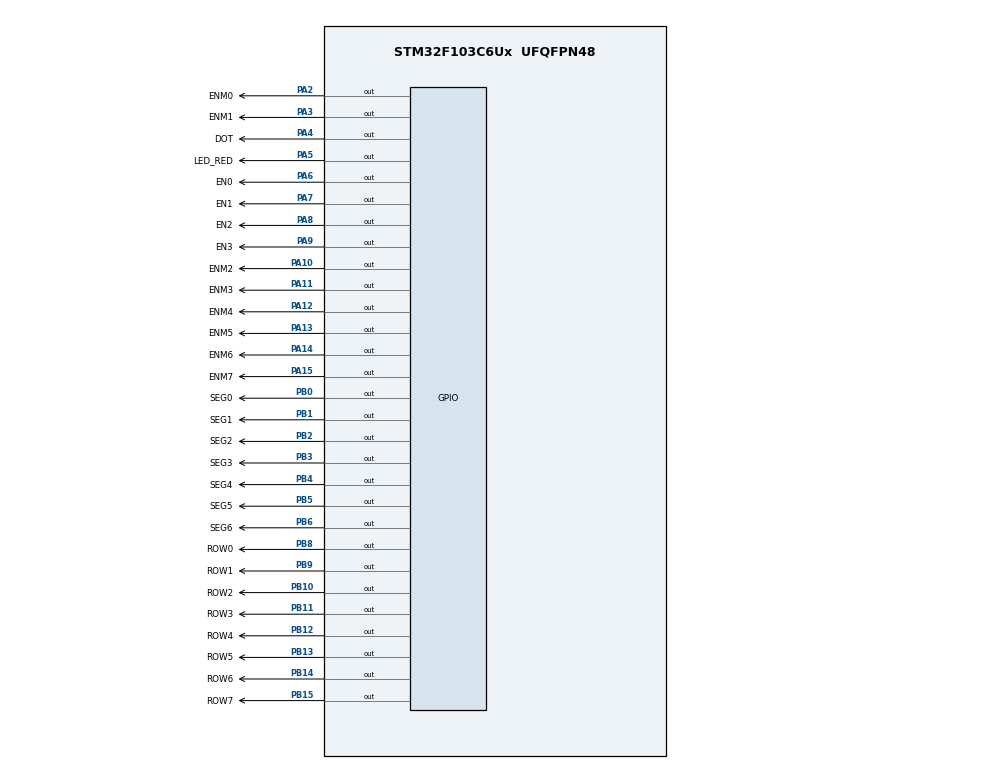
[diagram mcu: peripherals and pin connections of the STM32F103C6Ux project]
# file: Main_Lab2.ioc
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Mcu.Family=STM32F1
Mcu.Name=STM32F103C6Ux
Mcu.Package=UFQFPN48
NVIC.PriorityGroup=NVIC_PRIORITYGROUP_4
NVIC.TIM2_IRQn=true\:0\:0\:false\:false\:true\:true\:true
PA10.GPIO_Label=ENM2
PA10.Signal=GPIO_Output
PA11.GPIO_Label=ENM3
PA11.Signal=GPIO_Output
PA12.GPIO_Label=ENM4
PA12.Signal=GPIO_Output
PA13.GPIO_Label=ENM5
PA13.Signal=GPIO_Output
PA14.GPIO_Label=ENM6
PA14.Signal=GPIO_Output
PA15.GPIO_Label=ENM7
PA15.Signal=GPIO_Output
PA2.GPIO_Label=ENM0
PA2.Signal=GPIO_Output
PA3.GPIO_Label=ENM1
PA3.Signal=GPIO_Output
PA4.GPIO_Label=DOT
PA4.Signal=GPIO_Output
PA5.GPIO_Label=LED_RED
PA5.Signal=GPIO_Output
PA6.GPIO_Label=EN0
PA6.Signal=GPIO_Output
PA7.GPIO_Label=EN1
PA7.Signal=GPIO_Output
PA8.GPIO_Label=EN2
PA8.Signal=GPIO_Output
PA9.GPIO_Label=EN3
PA9.Signal=GPIO_Output
PB0.GPIO_Label=SEG0
PB0.Signal=GPIO_Output
PB1.GPIO_Label=SEG1
PB1.Signal=GPIO_Output
PB10.GPIO_Label=ROW2
PB10.Signal=GPIO_Output
PB11.GPIO_Label=ROW3
PB11.Signal=GPIO_Output
PB12.GPIO_Label=ROW4
PB12.Signal=GPIO_Output
PB13.GPIO_Label=ROW5
PB13.Signal=GPIO_Output
PB14.GPIO_Label=ROW6
PB14.Signal=GPIO_Output
PB15.GPIO_Label=ROW7
PB15.Signal=GPIO_Output
PB2.GPIO_Label=SEG2
PB2.Signal=GPIO_Output
PB3.GPIO_Label=SEG3
PB3.Signal=GPIO_Output
PB4.GPIO_Label=SEG4
PB4.Signal=GPIO_Output
PB5.GPIO_Label=SEG5
PB5.Signal=GPIO_Output
PB6.GPIO_Label=SEG6
PB6.Signal=GPIO_Output
PB8.GPIO_Label=ROW0
PB8.Signal=GPIO_Output
PB9.GPIO_Label=ROW1
PB9.Signal=GPIO_Output
ProjectManager.HeapSize=0x200
ProjectManager.StackSize=0x400
ProjectManager.TargetToolchain=STM32CubeIDE
RCC.APB1Freq_Value=8000000
RCC.APB2Freq_Value=8000000
TIM2.Period=9
TIM2.Prescaler=7999
VP_SYS_VS_ND.Mode=No_Debug
VP_TIM2_VS_ClockSourceINT.Mode=Internal
board=custom

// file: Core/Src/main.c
/* USER CODE BEGIN Header */
/**
  ******************************************************************************
  * @file           : main.c
  * @brief          : Main program body
  ******************************************************************************
  * @attention
  *
  * <h2><center>&copy; Copyright (c) 2024 STMicroelectronics.
  * All rights reserved.</center></h2>
  *
  * This software component is licensed by ST under BSD 3-Clause license,
  * the "License"; You may not use this file except in compliance with the
  * License. You may obtain a copy of the License at:
  *                        opensource.org/licenses/BSD-3-Clause
  *
  ******************************************************************************
  */
/* USER CODE END Header */
#include "main.h"

/* USER CODE BEGIN Includes */
#include "timer.h"
/* USER CODE END Includes */

TIM_HandleTypeDef htim2;

void SystemClock_Config(void);
static void MX_GPIO_Init(void);
static void MX_TIM2_Init(void);

/* USER CODE BEGIN 0 */
const int MAX_LED = 4;
int index_led = 0;
int controllPin[4] = {EN0_Pin, EN1_Pin, EN2_Pin, EN3_Pin};
int buffer[4] = {1, 2, 3, 4};
int hour = 15, minute = 59, second = 50;
void display7SEG(int num) {
	char segNum[10] = {0xC0, 0xF9, 0xA4, 0xB0, 0x99, 0x92, 0x82, 0xF8, 0x80, 0x90};
	for (int i = 0; i < 7; ++i) {
		HAL_GPIO_WritePin(GPIOB, GPIO_PIN_0 << i, (segNum[num] >> i) & 1);
	}
}
void clear() {
	HAL_GPIO_WritePin(GPIOA, EN0_Pin | EN1_Pin | EN2_Pin | EN3_Pin, SET);
}
void EnableLed() {
	HAL_GPIO_WritePin(EN0_GPIO_Port, EN0_Pin, 1);
	HAL_GPIO_WritePin(EN1_GPIO_Port, EN1_Pin, 1);
	HAL_GPIO_WritePin(EN2_GPIO_Port, EN2_Pin, 1);
	HAL_GPIO_WritePin(EN3_GPIO_Port, EN3_Pin, 1);
}
//void clearPin(int pin) {
//	HAL_GPIO_WritePin(GPIOA, controllPin[pin], RESET);
//}
void enable(int pin) {
	HAL_GPIO_WritePin(GPIOA, controllPin[pin], RESET);
}

void update7SEG(int index) {
	clear();
	EnableLed();
	switch (index) {
		case 0: {
			display7SEG(buffer[0]);
			enable(0);
			break;
		}
		case 1: {
			display7SEG(buffer[1]);
			enable(1);
			break;
		}
		case 2: {
			display7SEG(buffer[2]);
			enable(2);
			break;
		}
		case 3: {
			display7SEG(buffer[3]);
			enable(3);
			break;
		}
		default:
			break;
	}
}
void updateClockBuffer() {
	buffer[0] = hour / 10;
	buffer[1] = hour % 10;
	buffer[2] = minute / 10;
	buffer[3] = minute % 10;
}

//const int MAX_LED_MATRIX = 8;
//int index_led_matrix = 0;
//uint8_t matrix_buffer[8] = {0xE7,0xDB,0xBD,0x7E,0x00,0x00,0xFE,0xFE};
const int MAX_LED_MATRIX = 8;
int index_led_matrix = 0;
uint8_t shift = 0;
uint8_t matrix_buffer[8] = {  0b11100111,
							  0b11011011,
							  0b11011011,
							  0b10111101,
							  0b10111101,
							  0b10000001,
							  0b10111101,
							  0b10111101};

void setCol(uint8_t val){
	HAL_GPIO_WritePin(ENM0_GPIO_Port, ENM0_Pin, (val >> 7)&0x01);
	HAL_GPIO_WritePin(ENM1_GPIO_Port, ENM1_Pin, (val >> 6)&0x01);
	HAL_GPIO_WritePin(ENM2_GPIO_Port, ENM2_Pin, (val >> 5)&0x01);
	HAL_GPIO_WritePin(ENM3_GPIO_Port, ENM3_Pin, (val >> 4)&0x01);
	HAL_GPIO_WritePin(ENM4_GPIO_Port, ENM4_Pin, (val >> 3)&0x01);
	HAL_GPIO_WritePin(ENM5_GPIO_Port, ENM5_Pin, (val >> 2)&0x01);
	HAL_GPIO_WritePin(ENM6_GPIO_Port, ENM6_Pin, (val >> 1)&0x01);
	HAL_GPIO_WritePin(ENM7_GPIO_Port, ENM7_Pin, (val >> 0)&0x01);
}

void setRow() {
	HAL_GPIO_WritePin(ROW0_GPIO_Port, ROW0_Pin, SET);
	HAL_GPIO_WritePin(ROW1_GPIO_Port, ROW1_Pin, SET);
	HAL_GPIO_WritePin(ROW2_GPIO_Port, ROW2_Pin, SET);
	HAL_GPIO_WritePin(ROW3_GPIO_Port, ROW3_Pin, SET);
	HAL_GPIO_WritePin(ROW4_GPIO_Port, ROW4_Pin, SET);
	HAL_GPIO_WritePin(ROW5_GPIO_Port, ROW5_Pin, SET);
	HAL_GPIO_WritePin(ROW6_GPIO_Port, ROW6_Pin, SET);
	HAL_GPIO_WritePin(ROW7_GPIO_Port, ROW7_Pin, SET);
}
void updateLEDMatrix(uint8_t index, uint8_t shift){
	setRow();
	uint8_t matrix_buffer_shift = (matrix_buffer[index] << shift | matrix_buffer[index] >> (8 - shift));
	//setCol(matrix_buffer_shift);
	switch (index){
	case 0:
		setCol(matrix_buffer_shift);
		HAL_GPIO_WritePin(ROW0_GPIO_Port, ROW0_Pin, RESET);
		break;
	case 1:
		setCol(matrix_buffer_shift);
		HAL_GPIO_WritePin(ROW1_GPIO_Port, ROW1_Pin, RESET);
		break;
	case 2:
		setCol(matrix_buffer_shift);
		HAL_GPIO_WritePin(ROW2_GPIO_Port, ROW2_Pin, RESET);
		break;
	case 3:
		setCol(matrix_buffer_shift);
		HAL_GPIO_WritePin(ROW3_GPIO_Port, ROW3_Pin, RESET);
		break;
	case 4:
		setCol(matrix_buffer_shift);
		HAL_GPIO_WritePin(ROW4_GPIO_Port, ROW4_Pin, RESET);
		break;
	case 5:
		setCol(matrix_buffer_shift);
		HAL_GPIO_WritePin(ROW5_GPIO_Port, ROW5_Pin, RESET);
		break;
	case 6:
		setCol(matrix_buffer_shift);
		HAL_GPIO_WritePin(ROW6_GPIO_Port, ROW6_Pin, RESET);
		break;
	case 7:
		setCol(matrix_buffer_shift);
		HAL_GPIO_WritePin(ROW7_GPIO_Port, ROW7_Pin, RESET);
		break;
	default:
		break;
	}
}
/* USER CODE END 0 */

int main(void)
{

  /* MCU Configuration--------------------------------------------------------*/

  /* Reset of all peripherals, Initializes the Flash interface and the Systick. */
  HAL_Init();

  /* Configure the system clock */
  SystemClock_Config();

  /* Initialize all configured peripherals */
  MX_GPIO_Init();
  MX_TIM2_Init();
  /* USER CODE BEGIN 2 */
  HAL_TIM_Base_Start_IT(&htim2);
  /* USER CODE END 2 */

  /* Infinite loop */
  /* USER CODE BEGIN WHILE */
  setTimer1(1000);
  setTimer2(250);
  setTimer3(1000);
  while (1)
  {
	  if(timer1_flag == 1) {
		  HAL_GPIO_TogglePin(LED_RED_GPIO_Port, LED_RED_Pin);
		  HAL_GPIO_TogglePin(DOT_GPIO_Port, DOT_Pin);
		  setTimer1(1000);
	  }
	  if(timer2_flag == 1) {
		  update7SEG(index_led);
		  index_led++;
		  if(index_led >= 4) index_led = 0;

	  	  updateLEDMatrix(index_led_matrix, shift);
	  	  index_led_matrix++;
	  	  if(index_led_matrix >= 8) {
	  		  index_led_matrix = 0;
	  		  shift++;
	  		  if(shift >= 8) shift = 0;
	  	  }
	  	  setTimer2(250);
	  }
	  if(timer3_flag == 1) {
		  second++;
		  if(second >= 60) {
			  second = 0;
			  minute++;
		  }
		  if(minute >= 60) {
			  minute = 0;
			  hour++;
		  }
		  if(hour >= 24) {
			  hour = 0;
		  }
		  updateClockBuffer();
		  setTimer3(1000);
	  }
    /* USER CODE END WHILE */

  }
}
void SystemClock_Config(void)
{
  RCC_OscInitTypeDef RCC_OscInitStruct = {0};
  RCC_ClkInitTypeDef RCC_ClkInitStruct = {0};

  /** Initializes the RCC Oscillators according to the specified parameters
  * in the RCC_OscInitTypeDef structure.
  */
  RCC_OscInitStruct.OscillatorType = RCC_OSCILLATORTYPE_HSI;
  RCC_OscInitStruct.HSIState = RCC_HSI_ON;
  RCC_OscInitStruct.HSICalibrationValue = RCC_HSICALIBRATION_DEFAULT;
  RCC_OscInitStruct.PLL.PLLState = RCC_PLL_NONE;
  if (HAL_RCC_OscConfig(&RCC_OscInitStruct) != HAL_OK)
  {
    Error_Handler();
  }
  /** Initializes the CPU, AHB and APB buses clocks
  */
  RCC_ClkInitStruct.ClockType = RCC_CLOCKTYPE_HCLK|RCC_CLOCKTYPE_SYSCLK
                              |RCC_CLOCKTYPE_PCLK1|RCC_CLOCKTYPE_PCLK2;
  RCC_ClkInitStruct.SYSCLKSource = RCC_SYSCLKSOURCE_HSI;
  RCC_ClkInitStruct.AHBCLKDivider = RCC_SYSCLK_DIV1;
  RCC_ClkInitStruct.APB1CLKDivider = RCC_HCLK_DIV1;
  RCC_ClkInitStruct.APB2CLKDivider = RCC_HCLK_DIV1;

  if (HAL_RCC_ClockConfig(&RCC_ClkInitStruct, FLASH_LATENCY_0) != HAL_OK)
  {
    Error_Handler();
  }
}

static void MX_TIM2_Init(void)
{

  TIM_ClockConfigTypeDef sClockSourceConfig = {0};
  TIM_MasterConfigTypeDef sMasterConfig = {0};

  htim2.Instance = TIM2;
  htim2.Init.Prescaler = 7999;
  htim2.Init.CounterMode = TIM_COUNTERMODE_UP;
  htim2.Init.Period = 9;
  htim2.Init.ClockDivision = TIM_CLOCKDIVISION_DIV1;
  htim2.Init.AutoReloadPreload = TIM_AUTORELOAD_PRELOAD_DISABLE;
  if (HAL_TIM_Base_Init(&htim2) != HAL_OK)
  {
    Error_Handler();
  }
  sClockSourceConfig.ClockSource = TIM_CLOCKSOURCE_INTERNAL;
  if (HAL_TIM_ConfigClockSource(&htim2, &sClockSourceConfig) != HAL_OK)
  {
    Error_Handler();
  }
  sMasterConfig.MasterOutputTrigger = TIM_TRGO_RESET;
  sMasterConfig.MasterSlaveMode = TIM_MASTERSLAVEMODE_DISABLE;
  if (HAL_TIMEx_MasterConfigSynchronization(&htim2, &sMasterConfig) != HAL_OK)
  {
    Error_Handler();
  }

}

static void MX_GPIO_Init(void)
{
  GPIO_InitTypeDef GPIO_InitStruct = {0};

  /* GPIO Ports Clock Enable */
  __HAL_RCC_GPIOA_CLK_ENABLE();
  __HAL_RCC_GPIOB_CLK_ENABLE();

  /*Configure GPIO pin Output Level */
  HAL_GPIO_WritePin(GPIOA, ENM0_Pin|ENM1_Pin|DOT_Pin|LED_RED_Pin
                          |EN0_Pin|EN1_Pin|EN2_Pin|EN3_Pin
                          |ENM2_Pin|ENM3_Pin|ENM4_Pin|ENM5_Pin
                          |ENM6_Pin|ENM7_Pin, GPIO_PIN_RESET);

  /*Configure GPIO pin Output Level */
  HAL_GPIO_WritePin(GPIOB, SEG0_Pin|SEG1_Pin|SEG2_Pin|ROW2_Pin
                          |ROW3_Pin|ROW4_Pin|ROW5_Pin|ROW6_Pin
                          |ROW7_Pin|SEG3_Pin|SEG4_Pin|SEG5_Pin
                          |SEG6_Pin|ROW0_Pin|ROW1_Pin, GPIO_PIN_RESET);

  /*Configure GPIO pins : ENM0_Pin ENM1_Pin DOT_Pin LED_RED_Pin
                           EN0_Pin EN1_Pin EN2_Pin EN3_Pin
                           ENM2_Pin ENM3_Pin ENM4_Pin ENM5_Pin
                           ENM6_Pin ENM7_Pin */
  GPIO_InitStruct.Pin = ENM0_Pin|ENM1_Pin|DOT_Pin|LED_RED_Pin
                          |EN0_Pin|EN1_Pin|EN2_Pin|EN3_Pin
                          |ENM2_Pin|ENM3_Pin|ENM4_Pin|ENM5_Pin
                          |ENM6_Pin|ENM7_Pin;
  GPIO_InitStruct.Mode = GPIO_MODE_OUTPUT_PP;
  GPIO_InitStruct.Pull = GPIO_NOPULL;
  GPIO_InitStruct.Speed = GPIO_SPEED_FREQ_LOW;
  HAL_GPIO_Init(GPIOA, &GPIO_InitStruct);

  /*Configure GPIO pins : SEG0_Pin SEG1_Pin SEG2_Pin ROW2_Pin
                           ROW3_Pin ROW4_Pin ROW5_Pin ROW6_Pin
                           ROW7_Pin SEG3_Pin SEG4_Pin SEG5_Pin
                           SEG6_Pin ROW0_Pin ROW1_Pin */
  GPIO_InitStruct.Pin = SEG0_Pin|SEG1_Pin|SEG2_Pin|ROW2_Pin
                          |ROW3_Pin|ROW4_Pin|ROW5_Pin|ROW6_Pin
                          |ROW7_Pin|SEG3_Pin|SEG4_Pin|SEG5_Pin
                          |SEG6_Pin|ROW0_Pin|ROW1_Pin;
  GPIO_InitStruct.Mode = GPIO_MODE_OUTPUT_PP;
  GPIO_InitStruct.Pull = GPIO_NOPULL;
  GPIO_InitStruct.Speed = GPIO_SPEED_FREQ_LOW;
  HAL_GPIO_Init(GPIOB, &GPIO_InitStruct);

}

/* USER CODE BEGIN 4 */
void HAL_TIM_PeriodElapsedCallback(TIM_HandleTypeDef *htim)
{
	timer_run();
}
/* USER CODE END 4 */

void Error_Handler(void)
{
  __disable_irq();
  while (1)
  {
  }
}

/************************ (C) COPYRIGHT STMicroelectronics *****END OF FILE****/
